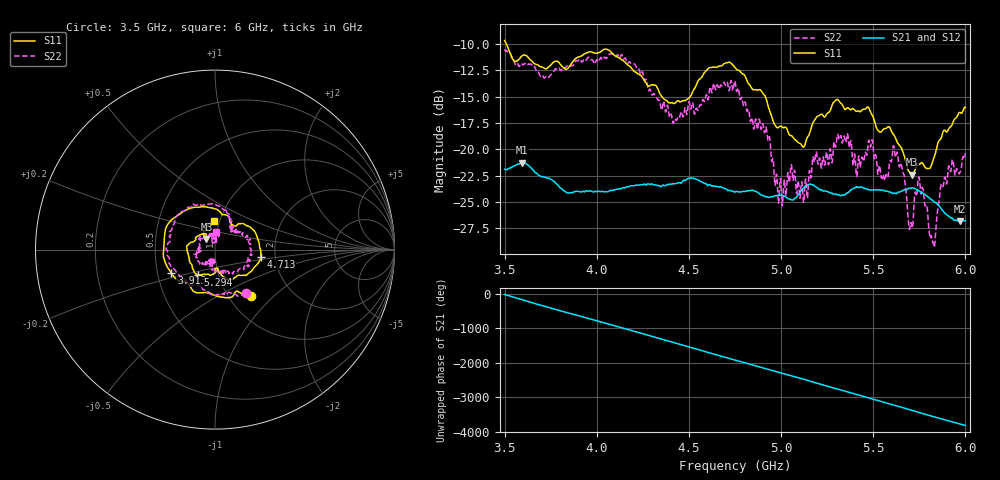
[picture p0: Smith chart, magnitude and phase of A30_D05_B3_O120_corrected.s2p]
! Created with skrf 1.9.0 (http://scikit-rf.org).
# Hz S RI R 50.0
!freq ReS11 ImS11 ReS21 ImS21 ReS12 ImS12 ReS22 ImS22
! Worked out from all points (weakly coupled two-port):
!   1601 points, 3.5 GHz to 6 GHz, reference 50 ohm
!   highest |S21| = -21.27 dB at 3.595 GHz (marker M1); lowest = -26.8 dB at 5.972 GHz (marker M2)
!   lowest |S11| = -22.4 dB at 5.711 GHz (marker M3), VSWR 1.16, Z = 45.2 + j5.37 ohm
!   |S11| at or under -10 dB: 3.51 GHz to end of sweep
!   |S22| runs from -29.2 to -10.5 dB; largest |S21 - S12| = 0.00095
!   S11 on the Smith chart (normalised r, x): 3.5 GHz: 1.27, -0.74; 3.913 GHz: 0.59, -0.17; 4.713 GHz: 1.68, -0.14; 5.294 GHz: 0.79, -0.23; 6 GHz: 0.94, +0.30
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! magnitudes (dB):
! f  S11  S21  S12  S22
! 3.5 GHz  -9.7  -21.9  -21.9  -10.5
! 3.595 GHz  -11.1  -21.3  -21.3  -11.9
! 3.913 GHz  -11.2  -24.0  -24.0  -11.5
! 3.917 GHz  -11.2  -24.0  -24.0  -11.7
! 4.144 GHz  -11.6  -23.6  -23.6  -11.4
! 4.334 GHz  -14.4  -23.4  -23.4  -15.3
! 4.423 GHz  -15.6  -23.3  -23.2  -17.1
! 4.713 GHz  -11.8  -23.9  -23.9  -14.0
! 4.75 GHz  -12.2  -24.1  -24.0  -13.6
! 4.928 GHz  -15.8  -24.5  -24.5  -19.1
! 4.997 GHz  -17.8  -24.4  -24.3  -22.8
! 5.133 GHz  -19.3  -23.5  -23.5  -22.8
! 5.167 GHz  -17.7  -23.3  -23.3  -21.7
! 5.294 GHz  -15.4  -24.2  -24.2  -19.7
! 5.584 GHz  -17.9  -24.0  -24.0  -21.9
! 5.62 GHz  -18.9  -24.2  -24.2  -20.7
! 5.711 GHz  -22.4  -23.7  -23.6  -27.4
! 5.755 GHz  -21.4  -24.0  -24.0  -23.5
! 5.825 GHz  -21.0  -24.9  -24.9  -28.9
! 5.877 GHz  -18.5  -25.8  -25.7  -23.5
! 5.972 GHz  -16.5  -26.8  -26.7  -22.1
! 6 GHz  -16.0  -26.8  -26.7  -20.4
